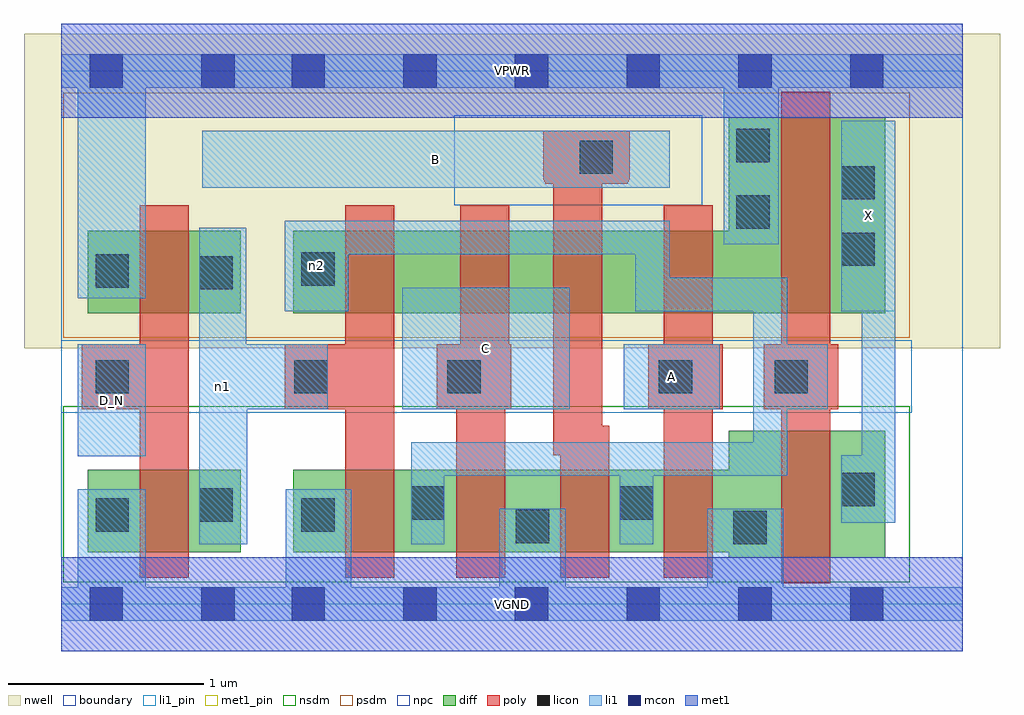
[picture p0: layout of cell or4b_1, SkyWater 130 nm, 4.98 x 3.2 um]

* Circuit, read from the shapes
.subckt or4b_1 A B C D_N VGND VPWR X n1 n2
XM1 n1 D_N VGND VSUBS sky130_fd_pr__nfet_01v8 w=0.42 l=0.25
XM2 n2 n1 VGND VSUBS sky130_fd_pr__nfet_01v8 w=0.42 l=0.25
XM3 VGND C n2 VSUBS sky130_fd_pr__nfet_01v8 w=0.42 l=0.25
XM4 n2 B VGND VSUBS sky130_fd_pr__nfet_01v8 w=0.42 l=0.25
XM5 VGND A n2 VSUBS sky130_fd_pr__nfet_01v8 w=0.42 l=0.25
XM6 X n2 VGND VSUBS sky130_fd_pr__nfet_01v8 w=0.65 l=0.25
XM7 n1 D_N VPWR n3 sky130_fd_pr__pfet_01v8 w=0.42 l=0.25
XM8 n4 n1 n2 n3 sky130_fd_pr__pfet_01v8 w=0.42 l=0.25
XM9 n5 C n4 n3 sky130_fd_pr__pfet_01v8 w=0.42 l=0.25
XM10 n6 B n5 n3 sky130_fd_pr__pfet_01v8 w=0.42 l=0.25
XM11 VPWR A n6 n3 sky130_fd_pr__pfet_01v8 w=0.42 l=0.25
XM12 X n2 VPWR n3 sky130_fd_pr__pfet_01v8 w=1 l=0.25
.ends

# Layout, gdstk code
import gdstk
lib = gdstk.Library(unit=1e-6, precision=1e-09)
def R(c, l, rs):  # rectangles x0, y0, x1, y1
    for r in rs: c.add(gdstk.rectangle(r[:2], r[2:], *l))
def A(c, l, x, y, w, h, nx, ny, dx, dy):  # array of equal rectangles
    R(c, l, [(x+i*dx, y+j*dy, x+i*dx+w, y+j*dy+h) for i in range(nx) for j in range(ny)])
nwell = (64, 20)
diff = (65, 20)
poly = (66, 20)
licon = (66, 44)
li1_pin = (67, 16)
li1 = (67, 20)
mcon = (67, 44)
met1_pin = (68, 16)
met1 = (68, 20)
nsdm = (93, 44)
psdm = (94, 20)
npc = (95, 20)
boundary = (235, 4)

or4b_1 = lib.new_cell('or4b_1')
R(or4b_1, nwell, [(-0.19,1.305,4.79,2.91), (0,1.305,4.6,2.91)])
R(or4b_1, diff, [(3.405,0.235,4.205,0.885), (0.135,0.265,0.915,0.685), (1.185,0.265,4.205,0.685), (0.135,1.485,0.915,1.905), (1.185,1.485,4.205,1.905), (3.405,1.485,4.205,2.485)])
R(or4b_1, poly, [(3.675,0.105,3.925,2.615), (0.4,0.135,0.65,2.035), (1.45,0.135,1.7,2.035), (2.015,0.135,2.265,1.325), (2.545,0.135,2.795,0.91), (3.075,0.135,3.325,2.035), (2.51,0.76,2.76,2.415), (0.105,0.995,0.65,1.325), (1.14,0.995,1.7,1.325), (1.915,0.995,2.295,1.325), (2.035,0.995,2.285,2.035), (2.995,0.995,3.375,1.325), (3.585,0.995,3.965,1.325), (2.47,2.145,2.89,2.415), (2.465,2.155,2.895,2.415), (2.46,2.165,2.9,2.415)])
R(or4b_1, licon, [(3.43,0.305,3.6,0.475), (2.32,0.31,2.49,0.48), (0.175,0.37,0.345,0.54), (1.225,0.37,1.395,0.54), (0.705,0.42,0.875,0.59), (1.785,0.43,1.955,0.6), (2.85,0.43,3.02,0.6), (3.98,0.5,4.15,0.67), (0.175,1.075,0.345,1.245), (1.19,1.075,1.36,1.245), (1.97,1.075,2.14,1.245), (3.05,1.075,3.22,1.245), (3.64,1.075,3.81,1.245), (0.705,1.605,0.875,1.775), (0.175,1.615,0.345,1.785), (1.225,1.625,1.395,1.795), (3.98,1.725,4.15,1.895), (3.445,1.915,3.615,2.085), (3.98,2.065,4.15,2.235), (2.645,2.195,2.815,2.365), (3.445,2.255,3.615,2.425)])
R(or4b_1, li1_pin, [(0.085,0.755,0.43,1.325), (1.74,0.995,2.595,1.615), (2.87,0.995,3.36,1.325), (3.98,1.495,4.255,2.465), (0.72,2.125,3.105,2.415)])
R(or4b_1, li1, [(0,-0.085,4.6,0.085), (0.085,-0.085,0.43,0.585), (1.145,-0.085,1.48,0.585), (2.235,-0.085,2.575,0.485), (3.295,-0.085,3.685,0.485), (0.705,0.305,0.945,1.92), (0.705,0.305,0.95,1.325), (1.785,0.305,1.955,0.825), (2.85,0.305,3.02,0.825), (3.98,0.415,4.255,0.76), (4.085,0.415,4.255,2.465), (1.785,0.655,3.705,0.825), (3.53,0.655,3.705,1.665), (0.085,0.755,0.43,1.325), (0.705,0.995,1.36,1.325), (1.74,0.995,2.595,1.615), (2.87,0.995,3.36,1.325), (3.53,0.995,3.91,1.325), (1.14,1.495,1.465,1.955), (2.93,1.495,3.705,1.665), (2.93,1.495,3.105,1.955), (3.98,1.495,4.255,2.465), (0.085,1.56,0.43,2.805), (1.14,1.785,3.105,1.955), (3.38,1.835,3.66,2.805), (0.72,2.125,3.105,2.415), (0,2.635,4.6,2.805)])
A(or4b_1, mcon, 1.175, -0.085, 0.17, 0.17, 6, 2, 0.57, 2.72)
R(or4b_1, mcon, [(0.145,-0.085,0.315,0.085), (0.715,-0.085,0.885,0.085), (0.145,2.635,0.315,2.805), (0.715,2.635,0.885,2.805)])
R(or4b_1, met1_pin, [(0,-0.24,4.6,0.24), (0,2.48,4.6,2.96)])
R(or4b_1, met1, [(0,-0.24,4.6,0.24), (0,2.48,4.6,2.96)])
R(or4b_1, nsdm, [(0.01,0.11,4.33,1.01)])
R(or4b_1, psdm, [(0.01,1.36,4.33,2.61)])
R(or4b_1, npc, [(0,0.975,4.34,1.345), (2.005,2.035,3.27,2.495)])
R(or4b_1, boundary, [(0,0,4.6,2.72)])
or4b_1.add(gdstk.Label('A', (3.115,1.16), layer=67, texttype=5))
or4b_1.add(gdstk.Label('B', (1.912,2.27), layer=67, texttype=5))
or4b_1.add(gdstk.Label('C', (2.167,1.305), layer=67, texttype=5))
or4b_1.add(gdstk.Label('D_N', (0.257,1.04), layer=67, texttype=5))
or4b_1.add(gdstk.Label('X', (4.117,1.98), layer=67, texttype=5))
or4b_1.add(gdstk.Label('n1', (0.825,1.112), layer=67, texttype=5))
or4b_1.add(gdstk.Label('n2', (1.302,1.725), layer=67, texttype=5))
or4b_1.add(gdstk.Label('VPWR', (2.3,2.72), layer=68, texttype=5))
or4b_1.add(gdstk.Label('VGND', (2.3,0), layer=68, texttype=5))
or4b_1.add(gdstk.Label('A', (3.115,1.16), layer=67, texttype=16))
or4b_1.add(gdstk.Label('B', (1.912,2.27), layer=67, texttype=16))
or4b_1.add(gdstk.Label('C', (2.167,1.305), layer=67, texttype=16))
or4b_1.add(gdstk.Label('D_N', (0.257,1.04), layer=67, texttype=16))
or4b_1.add(gdstk.Label('X', (4.117,1.98), layer=67, texttype=16))
or4b_1.add(gdstk.Label('VPWR', (2.3,2.72), layer=68, texttype=16))
or4b_1.add(gdstk.Label('VGND', (2.3,0), layer=68, texttype=16))

lib.write_gds('or4b_1.gds')
